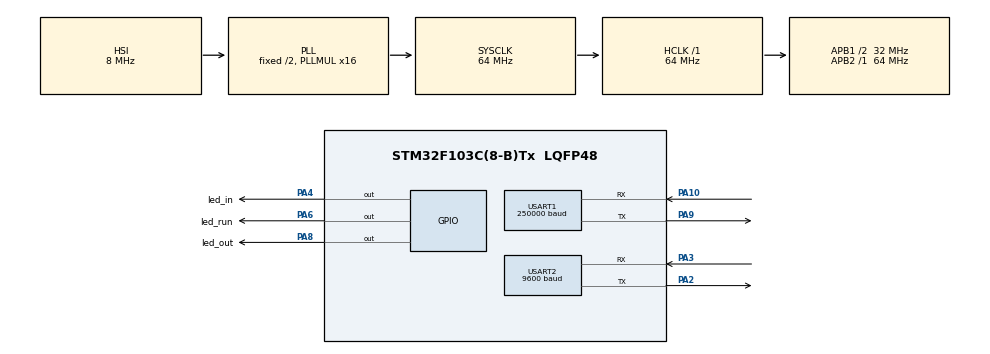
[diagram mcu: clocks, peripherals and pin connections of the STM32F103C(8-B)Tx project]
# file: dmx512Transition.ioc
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Dma.Request0=USART2_RX
Dma.Request1=USART2_TX
Dma.USART2_RX.0.Direction=DMA_PERIPH_TO_MEMORY
Dma.USART2_RX.0.Instance=DMA1_Channel6
Dma.USART2_RX.0.MemDataAlignment=DMA_MDATAALIGN_BYTE
Dma.USART2_RX.0.MemInc=DMA_MINC_ENABLE
Dma.USART2_RX.0.Mode=DMA_NORMAL
Dma.USART2_RX.0.PeriphDataAlignment=DMA_PDATAALIGN_BYTE
Dma.USART2_RX.0.PeriphInc=DMA_PINC_DISABLE
Dma.USART2_RX.0.Priority=DMA_PRIORITY_LOW
Dma.USART2_TX.1.Direction=DMA_MEMORY_TO_PERIPH
Dma.USART2_TX.1.Instance=DMA1_Channel7
Dma.USART2_TX.1.MemDataAlignment=DMA_MDATAALIGN_BYTE
Dma.USART2_TX.1.MemInc=DMA_MINC_ENABLE
Dma.USART2_TX.1.Mode=DMA_NORMAL
Dma.USART2_TX.1.PeriphDataAlignment=DMA_PDATAALIGN_BYTE
Dma.USART2_TX.1.PeriphInc=DMA_PINC_DISABLE
Dma.USART2_TX.1.Priority=DMA_PRIORITY_LOW
Mcu.Family=STM32F1
Mcu.Name=STM32F103C(8-B)Tx
Mcu.Package=LQFP48
NVIC.DMA1_Channel6_IRQn=true\:0\:0\:false\:false\:true\:false
NVIC.DMA1_Channel7_IRQn=true\:0\:0\:false\:false\:true\:false
NVIC.PriorityGroup=NVIC_PRIORITYGROUP_4
NVIC.TIM3_IRQn=true\:0\:0\:false\:false\:true\:true
NVIC.USART2_IRQn=true\:0\:0\:false\:false\:true\:true
PA10.Mode=Asynchronous
PA10.Signal=USART1_RX
PA13.Mode=Serial_Wire
PA13.Signal=SYS_JTMS-SWDIO
PA14.Mode=Serial_Wire
PA14.Signal=SYS_JTCK-SWCLK
PA2.Mode=Asynchronous
PA2.Signal=USART2_TX
PA3.Mode=Asynchronous
PA3.Signal=USART2_RX
PA4.GPIO_Label=led_in
PA4.Signal=GPIO_Output
PA6.GPIO_Label=led_run
PA6.Signal=GPIO_Output
PA8.GPIO_Label=led_out
PA8.Signal=GPIO_Output
PA9.Mode=Asynchronous
PA9.Signal=USART1_TX
ProjectManager.HeapSize=0x200
ProjectManager.StackSize=0x400
ProjectManager.TargetToolchain=Other Toolchains (GPDSC)
RCC.AHBFreq_Value=64000000
RCC.APB1CLKDivider=RCC_HCLK_DIV2
RCC.APB1Freq_Value=32000000
RCC.APB1TimFreq_Value=64000000
RCC.APB2Freq_Value=64000000
RCC.APB2TimFreq_Value=64000000
RCC.HCLKFreq_Value=64000000
RCC.PLLMUL=RCC_PLL_MUL16
RCC.SYSCLKFreq_VALUE=64000000
RCC.SYSCLKSource=RCC_SYSCLKSOURCE_PLLCLK
RCC.USBFreq_Value=64000000
TIM3.Period=1000
TIM3.Prescaler=7200-1
USART1.BaudRate=250000
USART1.VirtualMode=VM_ASYNC
USART1.WordLength=WORDLENGTH_9B
USART2.BaudRate=9600
USART2.VirtualMode=VM_ASYNC
VP_IWDG_VS_IWDG.Mode=IWDG_Activate
VP_TIM3_VS_ClockSourceINT.Mode=Internal
board=dmx512Transition

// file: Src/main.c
/* USER CODE BEGIN Header */
/**
  ******************************************************************************
  * @file           : main.c
  * @brief          : Main program body
  ******************************************************************************
  ** This notice applies to any and all portions of this file
  * that are not between comment pairs USER CODE BEGIN and
  * USER CODE END. Other portions of this file, whether
  * inserted by the user or by software development tools
  * are owned by their respective copyright owners.
  *
  * COPYRIGHT(c) 2018 STMicroelectronics
  *
  * Redistribution and use in source and binary forms, with or without modification,
  * are permitted provided that the following conditions are met:
  *   1. Redistributions of source code must retain the above copyright notice,
  *      this list of conditions and the following disclaimer.
  *   2. Redistributions in binary form must reproduce the above copyright notice,
  *      this list of conditions and the following disclaimer in the documentation
  *      and/or other materials provided with the distribution.
  *   3. Neither the name of STMicroelectronics nor the names of its contributors
  *      may be used to endorse or promote products derived from this software
  *      without specific prior written permission.
  *
  * THIS SOFTWARE IS PROVIDED BY THE COPYRIGHT HOLDERS AND CONTRIBUTORS "AS IS"
  * AND ANY EXPRESS OR IMPLIED WARRANTIES, INCLUDING, BUT NOT LIMITED TO, THE
  * IMPLIED WARRANTIES OF MERCHANTABILITY AND FITNESS FOR A PARTICULAR PURPOSE ARE
  * DISCLAIMED. IN NO EVENT SHALL THE COPYRIGHT HOLDER OR CONTRIBUTORS BE LIABLE
  * FOR ANY DIRECT, INDIRECT, INCIDENTAL, SPECIAL, EXEMPLARY, OR CONSEQUENTIAL
  * DAMAGES (INCLUDING, BUT NOT LIMITED TO, PROCUREMENT OF SUBSTITUTE GOODS OR
  * SERVICES; LOSS OF USE, DATA, OR PROFITS; OR BUSINESS INTERRUPTION) HOWEVER
  * CAUSED AND ON ANY THEORY OF LIABILITY, WHETHER IN CONTRACT, STRICT LIABILITY,
  * OR TORT (INCLUDING NEGLIGENCE OR OTHERWISE) ARISING IN ANY WAY OUT OF THE USE
  * OF THIS SOFTWARE, EVEN IF ADVISED OF THE POSSIBILITY OF SUCH DAMAGE.
  *
  ******************************************************************************
  */
/* USER CODE END Header */

#include "main.h"
#include "dma.h"
#include "iwdg.h"
#include "tim.h"
#include "usart.h"
#include "gpio.h"

/* USER CODE BEGIN PV */
/* Private variables ---------------------------------------------------------*/

/* USER CODE END PV */

void SystemClock_Config(void);
/* USER CODE BEGIN PFP */
/* Private function prototypes -----------------------------------------------*/

/* USER CODE END PFP */

/* USER CODE BEGIN 0 */

unsigned char usart2_rx_buffer[128];
unsigned char usart2_tx_buffer[128];
unsigned int usart2_tx_len = 0;
unsigned char usart2_rx_flag = 0;

uint8_t r = 0;
uint8_t g = 0;
uint8_t b = 0;
uint8_t w = 0;

uint16_t pDMX_buf;
uint8_t DMX_buf[64];
uint16_t sum;
uint8_t low;
uint8_t high;

void DMX_SendPacket(void)
{
	pDMX_buf = 0;

	while (pDMX_buf <= 10) //1-512
	{
		/* send data packet to slaves*/
		if (USART1->SR & (1 << 6))
		{
			/*发送起始码 00*/
			if (0 == pDMX_buf)
			{
				USART1->DR = ((USART1->DR) & 0xfe00);//第九位置0
			}
			else
			{
				USART1->DR = 0x0100 | DMX_buf[pDMX_buf];//第九位置1
			}
			pDMX_buf++;
		}
	}
}

/* USER CODE END 0 */

int main(void)
{

  /* MCU Configuration--------------------------------------------------------*/

  /* Reset of all peripherals, Initializes the Flash interface and the Systick. */
  HAL_Init();

  /* Configure the system clock */
  SystemClock_Config();

  /* Initialize all configured peripherals */
  MX_GPIO_Init();
  MX_DMA_Init();
  MX_USART1_UART_Init();
  MX_USART2_UART_Init();
  MX_TIM3_Init();
  MX_IWDG_Init();
  /* USER CODE BEGIN 2 */
  HAL_TIM_Base_Start_IT(&htim3);
  if (HAL_UART_Receive_DMA(&huart2, (uint8_t *)&usart2_rx_buffer, 128) != HAL_OK)    Error_Handler();
  __HAL_UART_ENABLE_IT(&huart2, UART_IT_IDLE);
  /* USER CODE END 2 */

  /* Infinite loop */
  while (1)
  {

    /* USER CODE BEGIN 3 */
	  if (usart2_rx_flag == 1)
	  {

		  if ((usart2_tx_buffer[0] == 0xc8)&&(usart2_tx_buffer[1] == 0x01)&&(usart2_tx_buffer[2] == 0x01)  ) {

			  sum = usart2_tx_buffer[5] + usart2_tx_buffer[7] + usart2_tx_buffer[9] + usart2_tx_buffer[11] + 10;
			  low = sum & 0xff;
			  high = (sum & 0xff00) >> 8;
			  if ((usart2_tx_buffer[12] == low)&&(usart2_tx_buffer[13]==high))
			  {
				  HAL_GPIO_TogglePin(led_in_GPIO_Port, led_in_Pin);
				  r = usart2_tx_buffer[5];
				  g = usart2_tx_buffer[7];
				  b = usart2_tx_buffer[9];
				  w = usart2_tx_buffer[11];

				  DMX_buf[2] = r;
				  DMX_buf[3] = g;
				  DMX_buf[4] = b;
				  DMX_buf[5] = w;

			  }
		  }
		  usart2_rx_flag = 0;
	  }
  }
  /* USER CODE END 3 */
}

void SystemClock_Config(void)
{
  RCC_OscInitTypeDef RCC_OscInitStruct = {0};
  RCC_ClkInitTypeDef RCC_ClkInitStruct = {0};

  /**Initializes the CPU, AHB and APB busses clocks
  */
  RCC_OscInitStruct.OscillatorType = RCC_OSCILLATORTYPE_HSI|RCC_OSCILLATORTYPE_LSI;
  RCC_OscInitStruct.HSIState = RCC_HSI_ON;
  RCC_OscInitStruct.HSICalibrationValue = RCC_HSICALIBRATION_DEFAULT;
  RCC_OscInitStruct.LSIState = RCC_LSI_ON;
  RCC_OscInitStruct.PLL.PLLState = RCC_PLL_ON;
  RCC_OscInitStruct.PLL.PLLSource = RCC_PLLSOURCE_HSI_DIV2;
  RCC_OscInitStruct.PLL.PLLMUL = RCC_PLL_MUL16;
  if (HAL_RCC_OscConfig(&RCC_OscInitStruct) != HAL_OK)
  {
    Error_Handler();
  }
  /**Initializes the CPU, AHB and APB busses clocks
  */
  RCC_ClkInitStruct.ClockType = RCC_CLOCKTYPE_HCLK|RCC_CLOCKTYPE_SYSCLK
                              |RCC_CLOCKTYPE_PCLK1|RCC_CLOCKTYPE_PCLK2;
  RCC_ClkInitStruct.SYSCLKSource = RCC_SYSCLKSOURCE_PLLCLK;
  RCC_ClkInitStruct.AHBCLKDivider = RCC_SYSCLK_DIV1;
  RCC_ClkInitStruct.APB1CLKDivider = RCC_HCLK_DIV2;
  RCC_ClkInitStruct.APB2CLKDivider = RCC_HCLK_DIV1;

  if (HAL_RCC_ClockConfig(&RCC_ClkInitStruct, FLASH_LATENCY_2) != HAL_OK)
  {
    Error_Handler();
  }
}

/* USER CODE BEGIN 4 */

void HAL_TIM_PeriodElapsedCallback(TIM_HandleTypeDef *htim)
{
	if (htim == &htim3)
	{
		HAL_GPIO_TogglePin(led_out_GPIO_Port, led_out_Pin);
		DMX_SendPacket();
		HAL_IWDG_Refresh(&hiwdg);
	}
}

/* USER CODE END 4 */

void Error_Handler(void)
{
  while(1)
  {
  }
}

/************************ (C) COPYRIGHT STMicroelectronics *****END OF FILE****/
